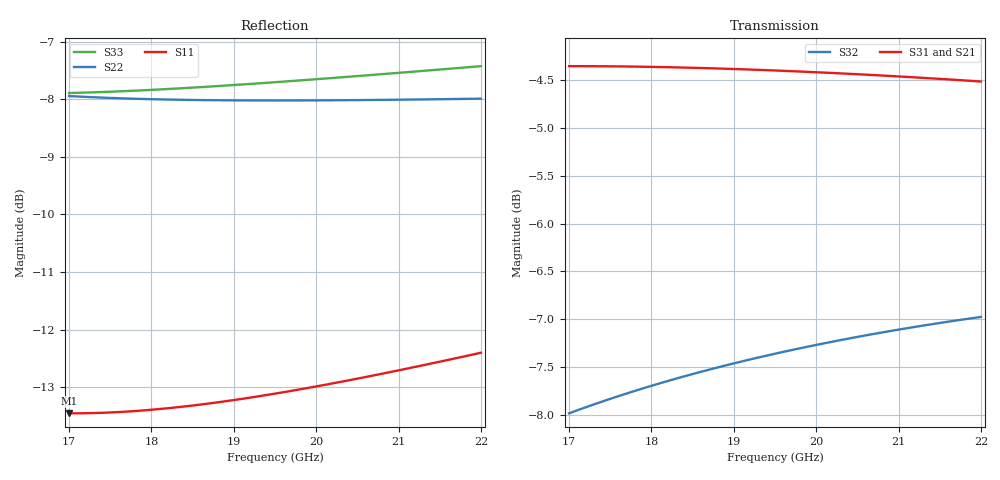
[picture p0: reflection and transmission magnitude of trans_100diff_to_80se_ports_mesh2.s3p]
#  GHZ S DB R 50.0
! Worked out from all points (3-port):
!   51 points, 17 GHz to 22 GHz, reference 50 ohm
!   strongest paths, dB at 17 GHz, 18.2 GHz, 19.5 GHz, 20.8 GHz, 22 GHz:
!     S31: -4.4, -4.4, -4.4, -4.5, -4.5
!     S21: -4.5, -4.4, -4.4, -4.4, -4.4
!     S32: -8.0, -7.6, -7.4, -7.1, -7.0
!   lowest |S11| = -13.5 dB at 17 GHz (marker M1), VSWR 1.54, Z = 75.6 + j7.68 ohm
!   |S11| at or under -10 dB: start of sweep to end of sweep
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17  -13.46 13.2  -4.49 -173.1  -4.35 6.5
    -4.49 -173.1  -7.94 95.7  -7.99 73.5
    -4.35 6.5  -7.99 73.5  -7.89 92.8
17.3  -13.45 9.2  -4.47 -175.3  -4.35 4.4
      -4.47 -175.3  -7.96 92.8  -7.89 71.4
      -4.35 4.4  -7.89 71.4  -7.88 89.9
17.6  -13.43 5.4  -4.46 -177.5  -4.36 2.3
      -4.46 -177.5  -7.98 90.0  -7.81 69.4
      -4.36 2.3  -7.81 69.4  -7.86 87.2
18.2  -13.37 -1.9  -4.44 178.4  -4.36 -1.6
      -4.44 178.4  -8.00 84.7  -7.65 65.5
      -4.36 -1.6  -7.65 65.5  -7.82 82.1
18.8  -13.27 -8.7  -4.42 174.3  -4.38 -5.5
      -4.42 174.3  -8.02 79.8  -7.51 61.8
      -4.38 -5.5  -7.51 61.8  -7.77 77.4
19.5  -13.11 -16.0  -4.41 169.8  -4.40 -9.8
      -4.41 169.8  -8.02 74.5  -7.36 57.7
      -4.40 -9.8  -7.36 57.7  -7.70 72.3
20.1  -12.96 -21.8  -4.40 166.0  -4.42 -13.3
      -4.40 166.0  -8.02 70.3  -7.25 54.3
      -4.42 -13.3  -7.25 54.3  -7.64 68.2
20.7  -12.80 -27.3  -4.40 162.4  -4.45 -16.8
      -4.40 162.4  -8.01 66.4  -7.16 51.0
      -4.45 -16.8  -7.16 51.0  -7.57 64.5
21.3  -12.62 -32.5  -4.40 158.8  -4.48 -20.2
      -4.40 158.8  -8.00 62.8  -7.07 47.9
      -4.48 -20.2  -7.07 47.9  -7.50 61.0
22  -12.40 -38.1  -4.40 154.7  -4.51 -24.1
    -4.40 154.7  -7.99 58.9  -6.98 44.4
    -4.51 -24.1  -6.98 44.4  -7.42 57.2
